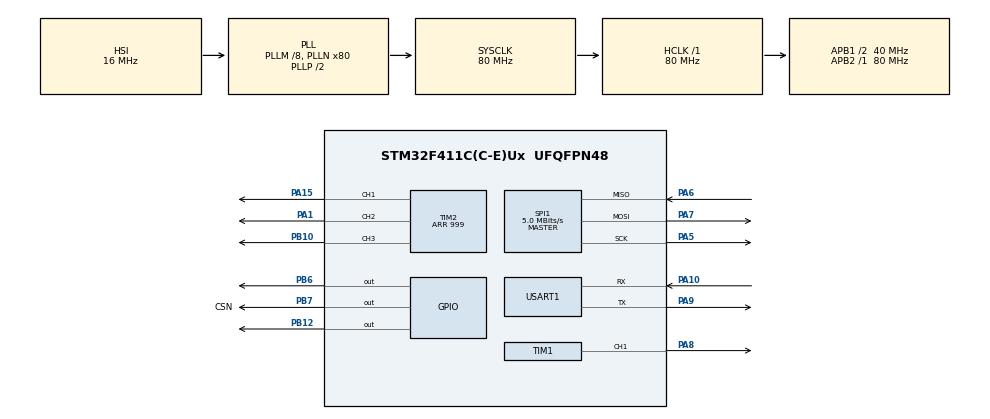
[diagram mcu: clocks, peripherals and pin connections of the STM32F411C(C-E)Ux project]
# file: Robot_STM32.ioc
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Mcu.Family=STM32F4
Mcu.Name=STM32F411C(C-E)Ux
Mcu.Package=UFQFPN48
NVIC.PriorityGroup=NVIC_PRIORITYGROUP_4
PA1.Signal=S_TIM2_CH2
PA10.Mode=Asynchronous
PA10.Signal=USART1_RX
PA13.Mode=Serial_Wire
PA13.Signal=SYS_JTMS-SWDIO
PA14.Mode=Serial_Wire
PA14.Signal=SYS_JTCK-SWCLK
PA15.Signal=S_TIM2_CH1_ETR
PA5.Mode=Full_Duplex_Master
PA5.Signal=SPI1_SCK
PA6.Mode=Full_Duplex_Master
PA6.Signal=SPI1_MISO
PA7.Mode=Full_Duplex_Master
PA7.Signal=SPI1_MOSI
PA8.Signal=S_TIM1_CH1
PA9.Mode=Asynchronous
PA9.Signal=USART1_TX
PB10.Signal=S_TIM2_CH3
PB12.Signal=GPIO_Output
PB6.Signal=GPIO_Output
PB7.GPIO_Label=CSN
PB7.GPIO_Speed=GPIO_SPEED_FREQ_HIGH
PB7.Signal=GPIO_Output
PH0\ -\ OSC_IN.Mode=HSE-External-Oscillator
PH0\ -\ OSC_IN.Signal=RCC_OSC_IN
PH1\ -\ OSC_OUT.Mode=HSE-External-Oscillator
PH1\ -\ OSC_OUT.Signal=RCC_OSC_OUT
ProjectManager.HeapSize=0x200
ProjectManager.StackSize=0x400
ProjectManager.TargetToolchain=STM32CubeIDE
RCC.48MHZClocksFreq_Value=40000000
RCC.AHBFreq_Value=80000000
RCC.APB1CLKDivider=RCC_HCLK_DIV2
RCC.APB1Freq_Value=40000000
RCC.APB1TimFreq_Value=80000000
RCC.APB2Freq_Value=80000000
RCC.APB2TimFreq_Value=80000000
RCC.CortexFreq_Value=80000000
RCC.HCLKFreq_Value=80000000
RCC.HSE_VALUE=25000000
RCC.HSI_VALUE=16000000
RCC.LSE_VALUE=32768
RCC.PLLM=8
RCC.PLLN=80
RCC.SYSCLKFreq_VALUE=80000000
RCC.SYSCLKSource=RCC_SYSCLKSOURCE_PLLCLK
RCC.VCOOutputFreq_Value=160000000
SH.S_TIM1_CH1.0=TIM1_CH1,PWM Generation1 CH1
SH.S_TIM2_CH1_ETR.0=TIM2_CH1,PWM Generation1 CH1
SH.S_TIM2_CH2.0=TIM2_CH2,PWM Generation2 CH2
SH.S_TIM2_CH3.0=TIM2_CH3,PWM Generation3 CH3
SPI1.BaudRatePrescaler=SPI_BAUDRATEPRESCALER_16
SPI1.CalculateBaudRate=5.0 MBits/s
SPI1.Direction=SPI_DIRECTION_2LINES
SPI1.Mode=SPI_MODE_MASTER
SPI1.VirtualType=VM_MASTER
TIM1.Channel-PWM\ Generation1\ CH1=TIM_CHANNEL_1
TIM1.Period=999
TIM2.Channel-PWM\ Generation1\ CH1=TIM_CHANNEL_1
TIM2.Channel-PWM\ Generation2\ CH2=TIM_CHANNEL_2
TIM2.Channel-PWM\ Generation3\ CH3=TIM_CHANNEL_3
TIM2.Period=999
USART1.VirtualMode=VM_ASYNC
board=custom

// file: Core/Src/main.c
/* USER CODE BEGIN Header */
/**
  ******************************************************************************
  * @file           : main.c
  * @brief          : Main program body
  ******************************************************************************
  * @attention
  *
  * Copyright (c) 2025 STMicroelectronics.
  * All rights reserved.
  *
  * This software is licensed under terms that can be found in the LICENSE file
  * in the root directory of this software component.
  * If no LICENSE file comes with this software, it is provided AS-IS.
  *
  ******************************************************************************
  */
/* USER CODE END Header */
#include "main.h"

/* USER CODE BEGIN Includes */
#include <math.h>
#include <stdio.h>
#include <string.h>
#include <inttypes.h>
#include "NRF24.h"
#include "NRF24_reg_addresses.h"
/* USER CODE END Includes */

/* USER CODE BEGIN PTD */

#pragma pack(push, 1)
typedef struct {
    uint8_t id;
    float Vx, Vy, Vang;
    uint8_t kicker;
} Pacote;
#pragma pack(pop)

uint8_t id = 5;

uint8_t addr[5] = {'A', 'S', 'U', 'R', 'T'};
uint8_t channel = 123;
uint8_t pld_size = sizeof(Pacote);

const uint32_t ARR = 1000;
const float R = 1.0;
const float Rr = 1.0;
const float Velocidade_maxima_motor = 29.32153; // rads/segundo de 280rmp

const float a1 = 0.785398;   // 45°
const float a2 = 2.35619;  // 135°
const float a3 = 3.92699; // 225°
const float a4 = 5.49779;  // 315°

/* USER CODE END PTD */

/* USER CODE BEGIN PD */
#define PWM_MOTOR1_CHANNEL TIM_CHANNEL_1
#define PWM_MOTOR1_TIMER &htim2
#define SENTIDO0_MOTOR1_Pin GPIO_PIN_9
#define SENTIDO0_MOTOR1_GPIO_Port GPIOB
#define SENTIDO1_MOTOR1_Pin GPIO_PIN_9
#define SENTIDO1_MOTOR1_GPIO_Port GPIOB

#define PWM_MOTOR2_CHANNEL TIM_CHANNEL_2
#define PWM_MOTOR2_TIMER &htim2
#define SENTIDO0_MOTOR2_Pin GPIO_PIN_8
#define SENTIDO0_MOTOR2_GPIO_Port GPIOB
#define SENTIDO1_MOTOR2_Pin GPIO_PIN_9
#define SENTIDO1_MOTOR2_GPIO_Port GPIOB

#define PWM_MOTOR3_CHANNEL TIM_CHANNEL_3
#define PWM_MOTOR3_TIMER &htim2
#define SENTIDO0_MOTOR3_Pin GPIO_PIN_7
#define SENTIDO0_MOTOR3_GPIO_Port GPIOB
#define SENTIDO1_MOTOR3_Pin GPIO_PIN_7
#define SENTIDO1_MOTOR3_GPIO_Port GPIOB

#define PWM_MOTOR4_CHANNEL TIM_CHANNEL_1
#define PWM_MOTOR4_TIMER &htim1
#define SENTIDO0_MOTOR4_Pin GPIO_PIN_6
#define SENTIDO0_MOTOR4_GPIO_Port GPIOB
#define SENTIDO1_MOTOR4_Pin GPIO_PIN_6
#define SENTIDO1_MOTOR4_GPIO_Port GPIOB

/* USER CODE END PD */

SPI_HandleTypeDef hspi1;

TIM_HandleTypeDef htim1;
TIM_HandleTypeDef htim2;

UART_HandleTypeDef huart1;

void SystemClock_Config(void);
static void MX_GPIO_Init(void);
static void MX_SPI1_Init(void);
static void MX_USART1_UART_Init(void);
static void MX_TIM1_Init(void);
static void MX_TIM2_Init(void);

/* USER CODE BEGIN 0 */
void acionar_motor(int motor, float dutycycle){
	TIM_HandleTypeDef *htim;
	uint32_t channel;
	GPIO_TypeDef* GPIOx0;
	uint16_t GPIO_Pinx0;
	GPIO_TypeDef* GPIOx1;
	uint16_t GPIO_Pinx1;

	switch(motor){
	case 1:
		htim = PWM_MOTOR1_TIMER;
		channel = PWM_MOTOR1_CHANNEL;
		GPIOx0 = SENTIDO0_MOTOR1_GPIO_Port;
		GPIO_Pinx0 = SENTIDO0_MOTOR1_Pin;
		GPIOx1 = SENTIDO1_MOTOR1_GPIO_Port;
		GPIO_Pinx1 = SENTIDO1_MOTOR1_Pin;
		break;
	case 2:
		htim = PWM_MOTOR2_TIMER;
		channel = PWM_MOTOR2_CHANNEL;
		GPIOx0 = SENTIDO0_MOTOR2_GPIO_Port;
		GPIO_Pinx0 = SENTIDO0_MOTOR2_Pin;
		GPIOx1 = SENTIDO1_MOTOR2_GPIO_Port;
		GPIO_Pinx1 = SENTIDO1_MOTOR2_Pin;
			break;
	case 3:
		htim = PWM_MOTOR3_TIMER;
		channel = PWM_MOTOR3_CHANNEL;
		GPIOx0 = SENTIDO0_MOTOR3_GPIO_Port;
		GPIO_Pinx0 = SENTIDO0_MOTOR3_Pin;
		GPIOx1 = SENTIDO1_MOTOR3_GPIO_Port;
		GPIO_Pinx1 = SENTIDO1_MOTOR3_Pin;
			break;
	case 4:
		htim = PWM_MOTOR4_TIMER;
		channel = PWM_MOTOR4_CHANNEL;
		GPIOx0 = SENTIDO0_MOTOR4_GPIO_Port;
		GPIO_Pinx0 = SENTIDO0_MOTOR4_Pin;
		GPIOx1 = SENTIDO1_MOTOR4_GPIO_Port;
		GPIO_Pinx1 = SENTIDO1_MOTOR4_Pin;
			break;
	default:
			return;
			break;
	}
	if (dutycycle < 0){
		HAL_GPIO_WritePin(GPIOx0, GPIO_Pinx0, GPIO_PIN_SET);
		HAL_GPIO_WritePin(GPIOx1, GPIO_Pinx1, GPIO_PIN_RESET);
		dutycycle = -dutycycle;
	}
	else {
		HAL_GPIO_WritePin(GPIOx0, GPIO_Pinx0, GPIO_PIN_RESET);
		HAL_GPIO_WritePin(GPIOx1, GPIO_Pinx1, GPIO_PIN_SET);
	}

	if (dutycycle > 100.0f){
		dutycycle = 100.0f;
	}
	uint32_t frequencia = (uint32_t)((dutycycle / 100.0f) * (ARR));
	__HAL_TIM_SET_COMPARE(htim, channel, frequencia);
}
/* USER CODE END 0 */

int main(void)
{

  /* MCU Configuration--------------------------------------------------------*/

  /* Reset of all peripherals, Initializes the Flash interface and the Systick. */
  HAL_Init();

  /* Configure the system clock */
  SystemClock_Config();

  /* Initialize all configured peripherals */
  MX_GPIO_Init();
  MX_SPI1_Init();
  MX_USART1_UART_Init();
  MX_TIM1_Init();
  MX_TIM2_Init();
  /* USER CODE BEGIN 2 */

  //radio configuration
  ce_high();
  HAL_Delay(5);
  ce_low();

  nrf24_init();

  nrf24_auto_ack_all(auto_ack);
  nrf24_en_ack_pld(disable);
  nrf24_dpl(disable);

  nrf24_tx_pwr(_0dbm);
  nrf24_data_rate(_1mbps);
  nrf24_set_channel(channel);
  nrf24_set_addr_width(5);

  nrf24_pipe_pld_size(0, pld_size);
  nrf24_set_crc(en_crc, _1byte);

  nrf24_auto_retr_delay(4);
  nrf24_auto_retr_limit(10);

  nrf24_open_tx_pipe(addr);
  nrf24_open_rx_pipe(0, addr);

  nrf24_listen();

  ce_high();
  HAL_Delay(5);

  //UART variables
  char received_char[1];
  received_char[0] = 'a';
  char msg[64];

  //Radio variables
  uint8_t rx_buffer[pld_size];
  Pacote pacote_recebido;

  //cinematics variables
  float vx = 0;
  float vy = 0;
  float vang = 0;
  uint8_t kicker = 0;

  float J[4][3] = {
  	  	    {-sin(a1), cos(a1), R},
  	  	    {-sin(a2), cos(a2), R},
  	  	    {-sin(a3), cos(a3), R},
  	  	    {-sin(a4), cos(a4), R}
  	  	  };

  /* USER CODE END 2 */

  /* Infinite loop */
  /* USER CODE BEGIN WHILE */
  while (1)
  {

	  if (HAL_UART_Receive(&huart1, received_char, 1, 10) == HAL_OK) {
	  	  	  HAL_UART_Transmit(&huart1, (uint8_t*)"Eco: ", strlen("Eco: "), 100);
	  	  	  HAL_UART_Transmit(&huart1, received_char, 1, 100);
	  	  	  HAL_UART_Transmit(&huart1, (uint8_t*)"\r\n", 2, 100); // Envia nova linha
	  	  }

	  if(nrf24_data_available()) {
		  	  nrf24_receive(rx_buffer, pld_size);
		  	  memcpy(&pacote_recebido, rx_buffer, sizeof(Pacote));
		  	  if(pacote_recebido.id == id){
		  		  snprintf(msg, sizeof(msg), "%d %.2f %.2f %.2f %d\r\n", pacote_recebido.id, pacote_recebido.Vx, pacote_recebido.Vy,pacote_recebido.Vang,pacote_recebido.kicker);
		  	  	  HAL_UART_Transmit(&huart1, (uint8_t*)msg, strlen(msg), 100);
		  	  	  vx = pacote_recebido.Vx;
		  	  	  vy = pacote_recebido.Vy;
		  	  	  vang = pacote_recebido.Vang;
		  	  	  kicker = pacote_recebido.kicker;
		  	  }
	  }

	  float duty_cycle[4];
	  for (int i = 0; i < 4; i++) {
	      duty_cycle[i] = 100*((1 / Rr) * (J[i][0] * vx + J[i][1] * vy + J[i][2] * vang))/Velocidade_maxima_motor;
	  }
	  acionar_motor(1, duty_cycle[0]);
	  acionar_motor(2, duty_cycle[1]);
	  acionar_motor(3, duty_cycle[2]);
	  acionar_motor(4, duty_cycle[3]);

  }
    /* USER CODE END WHILE */

}

void SystemClock_Config(void)
{
  RCC_OscInitTypeDef RCC_OscInitStruct = {0};
  RCC_ClkInitTypeDef RCC_ClkInitStruct = {0};

  /** Configure the main internal regulator output voltage
  */
  __HAL_RCC_PWR_CLK_ENABLE();
  __HAL_PWR_VOLTAGESCALING_CONFIG(PWR_REGULATOR_VOLTAGE_SCALE1);

  /** Initializes the RCC Oscillators according to the specified parameters
  * in the RCC_OscInitTypeDef structure.
  */
  RCC_OscInitStruct.OscillatorType = RCC_OSCILLATORTYPE_HSI;
  RCC_OscInitStruct.HSIState = RCC_HSI_ON;
  RCC_OscInitStruct.HSICalibrationValue = RCC_HSICALIBRATION_DEFAULT;
  RCC_OscInitStruct.PLL.PLLState = RCC_PLL_ON;
  RCC_OscInitStruct.PLL.PLLSource = RCC_PLLSOURCE_HSI;
  RCC_OscInitStruct.PLL.PLLM = 8;
  RCC_OscInitStruct.PLL.PLLN = 80;
  RCC_OscInitStruct.PLL.PLLP = RCC_PLLP_DIV2;
  RCC_OscInitStruct.PLL.PLLQ = 4;
  if (HAL_RCC_OscConfig(&RCC_OscInitStruct) != HAL_OK)
  {
    Error_Handler();
  }

  /** Initializes the CPU, AHB and APB buses clocks
  */
  RCC_ClkInitStruct.ClockType = RCC_CLOCKTYPE_HCLK|RCC_CLOCKTYPE_SYSCLK
                              |RCC_CLOCKTYPE_PCLK1|RCC_CLOCKTYPE_PCLK2;
  RCC_ClkInitStruct.SYSCLKSource = RCC_SYSCLKSOURCE_PLLCLK;
  RCC_ClkInitStruct.AHBCLKDivider = RCC_SYSCLK_DIV1;
  RCC_ClkInitStruct.APB1CLKDivider = RCC_HCLK_DIV2;
  RCC_ClkInitStruct.APB2CLKDivider = RCC_HCLK_DIV1;

  if (HAL_RCC_ClockConfig(&RCC_ClkInitStruct, FLASH_LATENCY_2) != HAL_OK)
  {
    Error_Handler();
  }
}

static void MX_SPI1_Init(void)
{

  /* SPI1 parameter configuration*/
  hspi1.Instance = SPI1;
  hspi1.Init.Mode = SPI_MODE_MASTER;
  hspi1.Init.Direction = SPI_DIRECTION_2LINES;
  hspi1.Init.DataSize = SPI_DATASIZE_8BIT;
  hspi1.Init.CLKPolarity = SPI_POLARITY_LOW;
  hspi1.Init.CLKPhase = SPI_PHASE_1EDGE;
  hspi1.Init.NSS = SPI_NSS_SOFT;
  hspi1.Init.BaudRatePrescaler = SPI_BAUDRATEPRESCALER_16;
  hspi1.Init.FirstBit = SPI_FIRSTBIT_MSB;
  hspi1.Init.TIMode = SPI_TIMODE_DISABLE;
  hspi1.Init.CRCCalculation = SPI_CRCCALCULATION_DISABLE;
  hspi1.Init.CRCPolynomial = 10;
  if (HAL_SPI_Init(&hspi1) != HAL_OK)
  {
    Error_Handler();
  }

}

static void MX_TIM1_Init(void)
{

  TIM_MasterConfigTypeDef sMasterConfig = {0};
  TIM_OC_InitTypeDef sConfigOC = {0};
  TIM_BreakDeadTimeConfigTypeDef sBreakDeadTimeConfig = {0};

  htim1.Instance = TIM1;
  htim1.Init.Prescaler = 0;
  htim1.Init.CounterMode = TIM_COUNTERMODE_UP;
  htim1.Init.Period = 999;
  htim1.Init.ClockDivision = TIM_CLOCKDIVISION_DIV1;
  htim1.Init.RepetitionCounter = 0;
  htim1.Init.AutoReloadPreload = TIM_AUTORELOAD_PRELOAD_DISABLE;
  if (HAL_TIM_PWM_Init(&htim1) != HAL_OK)
  {
    Error_Handler();
  }
  sMasterConfig.MasterOutputTrigger = TIM_TRGO_RESET;
  sMasterConfig.MasterSlaveMode = TIM_MASTERSLAVEMODE_DISABLE;
  if (HAL_TIMEx_MasterConfigSynchronization(&htim1, &sMasterConfig) != HAL_OK)
  {
    Error_Handler();
  }
  sConfigOC.OCMode = TIM_OCMODE_PWM1;
  sConfigOC.Pulse = 0;
  sConfigOC.OCPolarity = TIM_OCPOLARITY_HIGH;
  sConfigOC.OCNPolarity = TIM_OCNPOLARITY_HIGH;
  sConfigOC.OCFastMode = TIM_OCFAST_DISABLE;
  sConfigOC.OCIdleState = TIM_OCIDLESTATE_RESET;
  sConfigOC.OCNIdleState = TIM_OCNIDLESTATE_RESET;
  if (HAL_TIM_PWM_ConfigChannel(&htim1, &sConfigOC, TIM_CHANNEL_1) != HAL_OK)
  {
    Error_Handler();
  }
  sBreakDeadTimeConfig.OffStateRunMode = TIM_OSSR_DISABLE;
  sBreakDeadTimeConfig.OffStateIDLEMode = TIM_OSSI_DISABLE;
  sBreakDeadTimeConfig.LockLevel = TIM_LOCKLEVEL_OFF;
  sBreakDeadTimeConfig.DeadTime = 0;
  sBreakDeadTimeConfig.BreakState = TIM_BREAK_DISABLE;
  sBreakDeadTimeConfig.BreakPolarity = TIM_BREAKPOLARITY_HIGH;
  sBreakDeadTimeConfig.AutomaticOutput = TIM_AUTOMATICOUTPUT_DISABLE;
  if (HAL_TIMEx_ConfigBreakDeadTime(&htim1, &sBreakDeadTimeConfig) != HAL_OK)
  {
    Error_Handler();
  }
  HAL_TIM_MspPostInit(&htim1);

}

static void MX_TIM2_Init(void)
{

  TIM_MasterConfigTypeDef sMasterConfig = {0};
  TIM_OC_InitTypeDef sConfigOC = {0};

  htim2.Instance = TIM2;
  htim2.Init.Prescaler = 0;
  htim2.Init.CounterMode = TIM_COUNTERMODE_UP;
  htim2.Init.Period = 999;
  htim2.Init.ClockDivision = TIM_CLOCKDIVISION_DIV1;
  htim2.Init.AutoReloadPreload = TIM_AUTORELOAD_PRELOAD_DISABLE;
  if (HAL_TIM_PWM_Init(&htim2) != HAL_OK)
  {
    Error_Handler();
  }
  sMasterConfig.MasterOutputTrigger = TIM_TRGO_RESET;
  sMasterConfig.MasterSlaveMode = TIM_MASTERSLAVEMODE_DISABLE;
  if (HAL_TIMEx_MasterConfigSynchronization(&htim2, &sMasterConfig) != HAL_OK)
  {
    Error_Handler();
  }
  sConfigOC.OCMode = TIM_OCMODE_PWM1;
  sConfigOC.Pulse = 0;
  sConfigOC.OCPolarity = TIM_OCPOLARITY_HIGH;
  sConfigOC.OCFastMode = TIM_OCFAST_DISABLE;
  if (HAL_TIM_PWM_ConfigChannel(&htim2, &sConfigOC, TIM_CHANNEL_1) != HAL_OK)
  {
    Error_Handler();
  }
  if (HAL_TIM_PWM_ConfigChannel(&htim2, &sConfigOC, TIM_CHANNEL_2) != HAL_OK)
  {
    Error_Handler();
  }
  if (HAL_TIM_PWM_ConfigChannel(&htim2, &sConfigOC, TIM_CHANNEL_3) != HAL_OK)
  {
    Error_Handler();
  }
  HAL_TIM_MspPostInit(&htim2);

}

static void MX_USART1_UART_Init(void)
{

  huart1.Instance = USART1;
  huart1.Init.BaudRate = 115200;
  huart1.Init.WordLength = UART_WORDLENGTH_8B;
  huart1.Init.StopBits = UART_STOPBITS_1;
  huart1.Init.Parity = UART_PARITY_NONE;
  huart1.Init.Mode = UART_MODE_TX_RX;
  huart1.Init.HwFlowCtl = UART_HWCONTROL_NONE;
  huart1.Init.OverSampling = UART_OVERSAMPLING_16;
  if (HAL_UART_Init(&huart1) != HAL_OK)
  {
    Error_Handler();
  }

}

static void MX_GPIO_Init(void)
{
  GPIO_InitTypeDef GPIO_InitStruct = {0};

  /* GPIO Ports Clock Enable */
  __HAL_RCC_GPIOH_CLK_ENABLE();
  __HAL_RCC_GPIOA_CLK_ENABLE();
  __HAL_RCC_GPIOB_CLK_ENABLE();

  /*Configure GPIO pin Output Level */
  HAL_GPIO_WritePin(GPIOB, GPIO_PIN_12|GPIO_PIN_6|CSN_Pin, GPIO_PIN_RESET);

  /*Configure GPIO pins : PB12 PB6 */
  GPIO_InitStruct.Pin = GPIO_PIN_12|GPIO_PIN_6;
  GPIO_InitStruct.Mode = GPIO_MODE_OUTPUT_PP;
  GPIO_InitStruct.Pull = GPIO_NOPULL;
  GPIO_InitStruct.Speed = GPIO_SPEED_FREQ_LOW;
  HAL_GPIO_Init(GPIOB, &GPIO_InitStruct);

  /*Configure GPIO pin : CSN_Pin */
  GPIO_InitStruct.Pin = CSN_Pin;
  GPIO_InitStruct.Mode = GPIO_MODE_OUTPUT_PP;
  GPIO_InitStruct.Pull = GPIO_NOPULL;
  GPIO_InitStruct.Speed = GPIO_SPEED_FREQ_HIGH;
  HAL_GPIO_Init(CSN_GPIO_Port, &GPIO_InitStruct);

}

void Error_Handler(void)
{
  __disable_irq();
  while (1)
  {
  }
}
